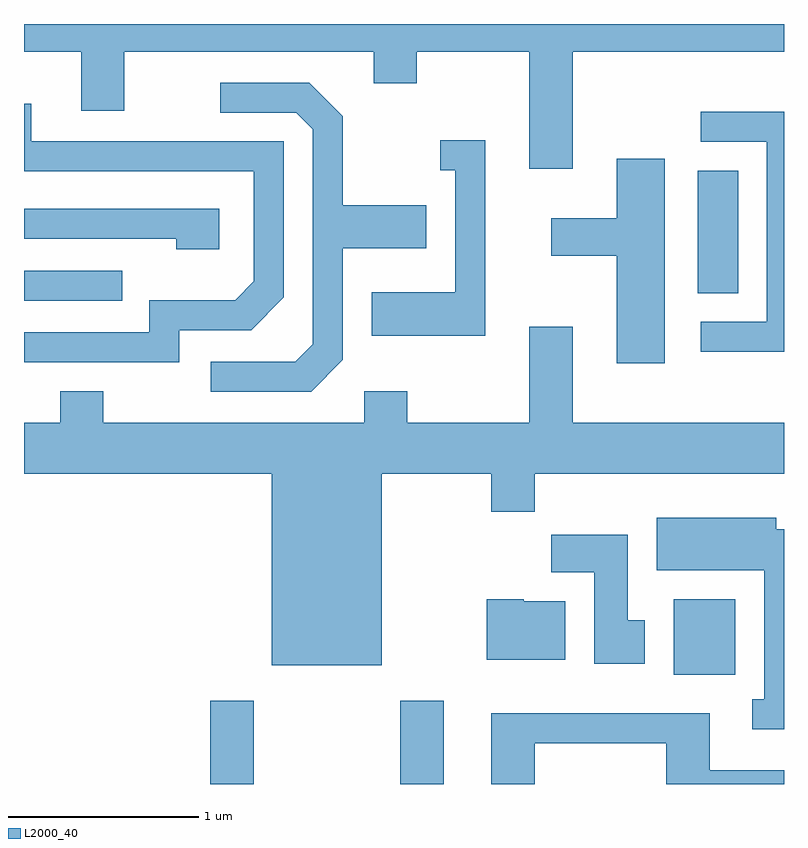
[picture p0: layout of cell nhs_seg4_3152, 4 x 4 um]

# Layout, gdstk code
import gdstk
lib = gdstk.Library(unit=1e-6, precision=1e-09)
def R(c, l, rs):  # rectangles x0, y0, x1, y1
    for r in rs: c.add(gdstk.rectangle(r[:2], r[2:], *l))
def P(c, l, *ps):  # polygons
    for p in ps: c.add(gdstk.Polygon(p, *l))
L2000_40 = (2000, 40)

nhs_seg4_3152 = lib.new_cell('nhs_seg4_3152')
R(nhs_seg4_3152, L2000_40, [(278.591,1301.982,278.819,1302.419), (279.591,1301.982,279.819,1302.419), (281.031,1302.556,281.354,1302.954), (277.611,1304.526,278.128,1304.684), (281.156,1304.566,281.369,1305.209)])
P(nhs_seg4_3152, L2000_40, [(280.499,1305.836),(281.611,1305.836),(281.611,1305.982),(277.611,1305.982),(277.611,1305.836),(277.911,1305.836),(277.911,1305.526),(278.139,1305.526),(278.139,1305.836),(279.451,1305.836),(279.451,1305.671),(279.679,1305.671),(279.679,1305.836),(280.271,1305.836),(280.271,1305.221),(280.499,1305.221)],
  [(279.289,1304.214),(279.289,1304.801),(279.729,1304.801),(279.729,1305.029),(279.289,1305.029),(279.289,1305.497),(279.112,1305.674),(278.643,1305.674),(278.643,1305.516),(279.044,1305.516),(279.131,1305.429),(279.131,1304.297),(279.039,1304.204),(278.593,1304.204),(278.593,1304.046),(279.122,1304.046)],
  [(278.429,1304.371),(278.807,1304.371),(278.979,1304.544),(278.979,1305.364),(277.649,1305.364),(277.649,1305.563),(277.611,1305.563),(277.611,1305.206),(278.821,1305.206),(278.821,1304.627),(278.724,1304.529),(278.271,1304.529),(278.271,1304.359),(277.611,1304.359),(277.611,1304.201),(278.429,1304.201)],
  [(281.611,1305.519),(281.173,1305.519),(281.173,1305.361),(281.521,1305.361),(281.521,1304.414),(281.173,1304.414),(281.173,1304.256),(281.611,1304.256)],
  [(280.039,1305.369),(279.803,1305.369),(279.803,1305.211),(279.881,1305.211),(279.881,1304.569),(279.441,1304.569),(279.441,1304.341),(280.039,1304.341)],
  [(280.984,1305.274),(280.731,1305.274),(280.731,1304.959),(280.386,1304.959),(280.386,1304.761),(280.731,1304.761),(280.731,1304.196),(280.984,1304.196)],
  [(278.639,1305.009),(277.611,1305.009),(277.611,1304.851),(278.411,1304.851),(278.411,1304.796),(278.639,1304.796)],
  [(279.494,1303.616),(280.071,1303.616),(280.071,1303.416),(280.299,1303.416),(280.299,1303.616),(281.611,1303.616),(281.611,1303.884),(280.499,1303.884),(280.499,1304.389),(280.271,1304.389),(280.271,1303.884),(279.629,1303.884),(279.629,1304.049),(279.401,1304.049),(279.401,1303.884),(278.029,1303.884),(278.029,1304.049),(277.801,1304.049),(277.801,1303.884),(277.611,1303.884),(277.611,1303.616),(278.916,1303.616),(278.916,1302.606),(279.494,1302.606)],
  [(281.611,1303.324),(281.569,1303.324),(281.569,1303.384),(280.941,1303.384),(280.941,1303.106),(281.506,1303.106),(281.506,1302.429),(281.443,1302.429),(281.443,1302.271),(281.611,1302.271)],
  [(280.879,1302.844),(280.789,1302.844),(280.789,1303.294),(280.386,1303.294),(280.386,1303.096),(280.611,1303.096),(280.611,1302.616),(280.879,1302.616)],
  [(280.459,1302.944),(280.24,1302.944),(280.24,1302.954),(280.046,1302.954),(280.046,1302.636),(280.459,1302.636)],
  [(280.299,1302.196),(280.991,1302.196),(280.991,1301.982),(281.611,1301.982),(281.611,1302.054),(281.219,1302.054),(281.219,1302.354),(280.071,1302.354),(280.071,1301.982),(280.299,1301.982)])

lib.write_gds('nhs_seg4_3152.gds')
